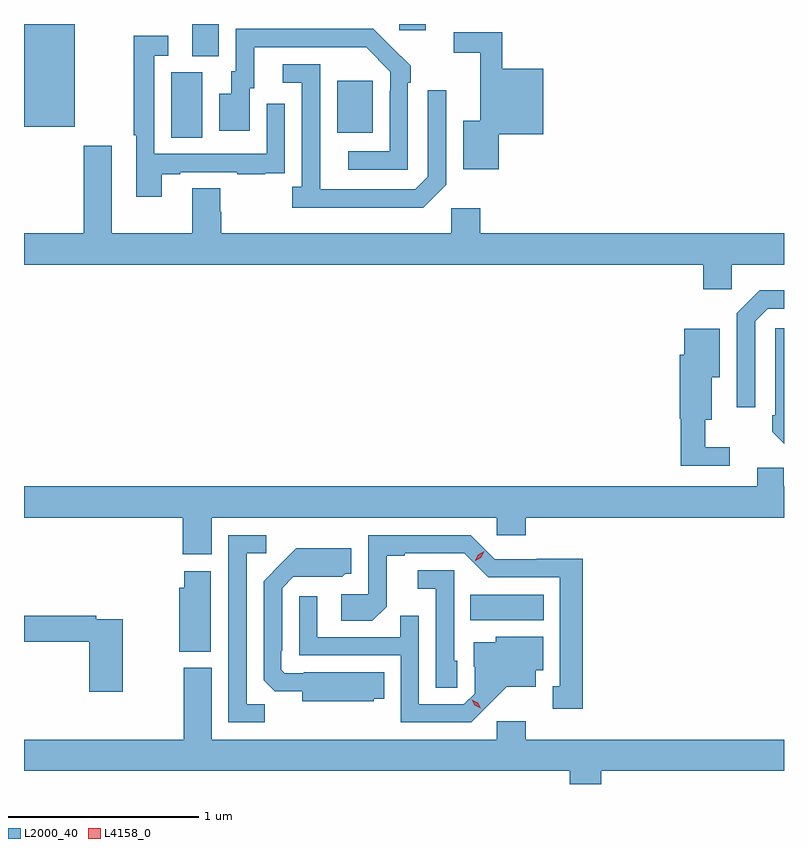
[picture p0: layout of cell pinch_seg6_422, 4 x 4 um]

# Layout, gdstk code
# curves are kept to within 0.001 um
import gdstk
lib = gdstk.Library(unit=1e-6, precision=1e-09)
def R(c, l, rs):  # rectangles x0, y0, x1, y1
    for r in rs: c.add(gdstk.rectangle(r[:2], r[2:], *l))
def P(c, l, *ps):  # polygons
    for p in ps: c.add(gdstk.Polygon(p, *l))
L2000_40 = (2000, 40)
L4158_0 = (4158, 0)

pinch_seg6_422 = lib.new_cell('pinch_seg6_422')
R(pinch_seg6_422, L2000_40, [(700.804,933.476,701.191,933.61), (699.23,936.016,699.394,936.36), (700.103,936.041,700.291,936.316), (698.455,936.074,698.722,936.614), (699.341,936.445,699.481,936.614), (700.431,936.582,700.57,936.614)])
P(pinch_seg6_422, L2000_40, [(700.476,936.305),(700.491,936.305),(700.491,936.393),(700.294,936.588),(699.57,936.588),(699.57,936.366),(699.545,936.366),(699.545,936.247),(699.482,936.247),(699.482,936.051),(699.643,936.051),(699.643,936.276),(699.667,936.276),(699.667,936.492),(700.255,936.492),(700.383,936.363),(700.383,936.263),(700.38,936.263),(700.38,935.943),(700.161,935.943),(700.161,935.847),(700.476,935.847)],
  [(700.954,936.035),(701.188,936.035),(701.188,936.379),(700.973,936.379),(700.973,936.57),(700.716,936.57),(700.716,936.462),(700.856,936.462),(700.856,936.106),(700.766,936.106),(700.766,935.849),(700.954,935.849)],
  [(699.181,935.823),(699.277,935.823),(699.277,935.835),(699.577,935.835),(699.577,935.823),(699.725,935.823),(699.725,935.829),(699.827,935.829),(699.827,935.938),(699.828,935.938),(699.828,936.193),(699.732,936.193),(699.732,935.931),(699.141,935.931),(699.141,936.447),(699.214,936.447),(699.214,936.553),(699.033,936.553),(699.033,936.028),(699.045,936.028),(699.045,935.706),(699.181,935.706)],
  [(700.677,935.769),(700.677,936.265),(700.581,936.265),(700.581,935.811),(700.515,935.745),(700.015,935.745),(700.014,936.402),(699.816,936.402),(699.816,936.306),(699.918,936.306),(699.918,935.758),(699.867,935.758),(699.867,935.648),(700.556,935.648)],
  [(702.18,935.348),(702.455,935.348),(702.455,935.512),(700.856,935.512),(700.856,935.644),(700.704,935.644),(700.704,935.512),(699.494,935.512),(699.494,935.625),(699.489,935.625),(699.489,935.75),(699.341,935.75),(699.341,935.512),(698.917,935.512),(698.917,935.974),(698.77,935.974),(698.77,935.512),(698.455,935.512),(698.455,935.348),(702.029,935.348),(702.029,935.217),(702.18,935.217)],
  [(702.303,935.049),(702.369,935.115),(702.455,935.115),(702.455,935.212),(702.328,935.212),(702.207,935.091),(702.207,934.596),(702.303,934.596)],
  [(702.455,935.013),(702.408,935.013),(702.408,934.555),(702.393,934.555),(702.393,934.467),(702.455,934.405)],
  [(702.169,934.387),(702.04,934.387),(702.04,934.532),(702.076,934.532),(702.076,934.754),(702.118,934.754),(702.118,935.011),(701.93,935.011),(701.93,934.872),(701.906,934.872),(701.906,934.536),(701.911,934.536),(701.911,934.29),(702.169,934.29)],
  [(699.442,934.016),(700.944,934.016),(700.944,933.923),(701.096,933.923),(701.096,934.016),(702.455,934.016),(702.455,934.18),(702.453,934.18),(702.453,934.278),(702.314,934.278),(702.314,934.18),(698.455,934.18),(698.455,934.016),(699.29,934.016),(699.29,933.822),(699.442,933.822)],
  [(701.395,933.8),(701.154,933.8),(701.154,933.798),(700.932,933.798),(700.806,933.924),(700.266,933.924),(700.266,933.612),(700.125,933.612),(700.125,933.472),(700.289,933.472),(700.365,933.548),(700.365,933.816),(700.459,933.816),(700.459,933.828),(700.773,933.828),(700.899,933.702),(701.276,933.702),(701.276,933.129),(701.237,933.129),(701.237,933.009),(701.395,933.009)],
  [(699.723,933.035),(699.627,933.035),(699.627,933.828),(699.73,933.828),(699.73,933.924),(699.531,933.924),(699.531,932.94),(699.723,932.94)],
  [(700.296,933.062),(700.352,933.062),(700.352,933.202),(699.928,933.202),(699.928,933.198),(699.828,933.198),(699.81,933.216),(699.81,933.316),(699.813,933.316),(699.813,933.645),(699.873,933.705),(700.13,933.704),(700.146,933.72),(700.177,933.72),(700.177,933.856),(699.889,933.856),(699.717,933.682),(699.717,933.16),(699.776,933.101),(699.92,933.101),(699.92,933.05),(700.296,933.05)],
  [(700.734,933.264),(700.719,933.264),(700.719,933.738),(700.527,933.738),(700.527,933.641),(700.623,933.641),(700.623,933.121),(700.734,933.121)],
  [(699.439,933.733),(699.299,933.733),(699.299,933.646),(699.272,933.646),(699.272,933.311),(699.439,933.311)],
  [(700.894,933.023),(700.997,933.125),(701.149,933.125),(701.149,933.212),(701.188,933.212),(701.188,933.388),(700.938,933.388),(700.938,933.361),(700.823,933.361),(700.823,933.232),(700.827,933.232),(700.827,933.09),(700.77,933.033),(700.533,933.033),(700.533,933.5),(700.435,933.5),(700.435,933.387),(699.999,933.387),(699.999,933.601),(699.903,933.601),(699.903,933.291),(700.437,933.291),(700.437,932.94),(700.81,932.94)],
  [(698.976,933.48),(698.834,933.48),(698.834,933.5),(698.455,933.5),(698.455,933.364),(698.798,933.364),(698.798,933.099),(698.976,933.099)],
  [(701.327,932.614),(701.492,932.614),(701.492,932.684),(702.455,932.684),(702.455,932.848),(701.096,932.848),(701.096,932.944),(700.944,932.944),(700.944,932.848),(699.442,932.848),(699.442,933.226),(699.295,933.226),(699.295,932.848),(698.455,932.848),(698.455,932.684),(701.327,932.684)])
P(pinch_seg6_422, L4158_0, [(700.827,933.787),(700.827,933.787),(700.845,933.82),(700.877,933.838),(700.878,933.838),(700.878,933.838),(700.859,933.806),(700.827,933.787)],
  [(700.858,933.012),(700.828,933.028),(700.812,933.058),(700.812,933.058),(700.812,933.058),(700.842,933.042),(700.859,933.012),(700.859,933.012)])

lib.write_gds('pinch_seg6_422.gds')
